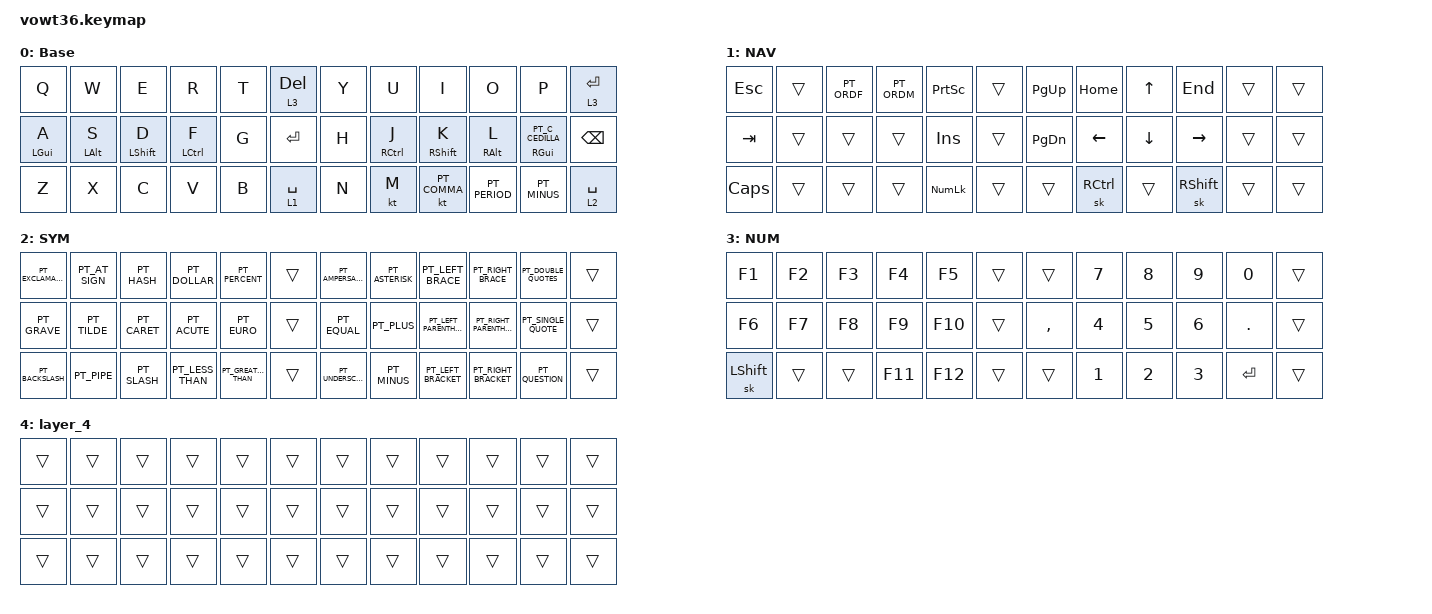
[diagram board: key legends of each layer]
#include <behaviors.dtsi>
#include <dt-bindings/zmk/keys.h>
#include "keys_pt.h"
#include "accents.dtsi"

#define DEF 0
#define LWR 1
#define RSE 2
#define ADJ 3

&lt { quick_tap_ms = <220>; };

&mt { quick_tap_ms = <220>; };

/ {
};

/ {
    combos {
        compatible = "zmk,combos";

        Bootloader-Left {
            bindings = <&bootloader>;
            key-positions = <5 29 4>;
        };

        BootLoader-Right {
            bindings = <&bootloader>;
            key-positions = <6 11 35>;
        };

        Accent-Acute {
            bindings = <&kp PT_ACUTE>;
            key-positions = <9 8>;
        };

        Accent-Grave {
            bindings = <&kp PT_GRAVE>;
            key-positions = <7 8>;
        };

        Accent-Tilde {
            bindings = <&kp PT_TILDE>;
            key-positions = <7 8 9>;
        };

        Accent-Caret {
            bindings = <&kp PT_CARET>;
            key-positions = <7 9>;
        };

        Backspace {
            bindings = <&kp BACKSPACE>;
            key-positions = <6 7>;
        };

        Enter {
            bindings = <&kp ENTER>;
            key-positions = <18 19>;
        };

        Delete {
            bindings = <&kp DELETE>;
            key-positions = <4 3>;
        };

        Tab {
            bindings = <&kp TAB>;
            key-positions = <16 15>;
        };

        Esc {
            bindings = <&kp ESC>;
            key-positions = <0 1>;
        };
    };

    macros {
        DeadKey: new_macro {
            compatible = "zmk,behavior-macro-two-param";
            #binding-cells = <2>;
            bindings = <&macro_param_1to1 &kp MACRO_PLACEHOLDER &macro_param_2to1 &kp MACRO_PLACEHOLDER>;
            label = "NEW_MACRO";
        };
    };

    behaviors {
        a_grv: a_grv {
            compatible = "zmk,behavior-mod-morph";
            label = "A_GRV";
            bindings = <&DeadKey PT_GRAVE A>, <&DeadKey PT_GRAVE LS(A)>;

            #binding-cells = <0>;
            mods = <(MOD_LSFT|MOD_RSFT)>;
        };

        a_acu: a_acu {
            compatible = "zmk,behavior-mod-morph";
            label = "A_ACU";
            bindings = <&DeadKey PT_ACUTE A>, <&DeadKey PT_ACUTE LS(A)>;

            #binding-cells = <0>;
            mods = <(MOD_LSFT|MOD_RSFT)>;
        };

        a_til: a_til {
            compatible = "zmk,behavior-mod-morph";
            label = "A_TIL";
            bindings = <&DeadKey PT_TILDE A>, <&DeadKey PT_TILDE LS(A)>;

            #binding-cells = <0>;
            mods = <(MOD_LSFT|MOD_RSFT)>;
        };

        a_cir: a_cir {
            compatible = "zmk,behavior-mod-morph";
            label = "A_CIR";
            bindings = <&DeadKey PT_CARET A>, <&DeadKey PT_CARET LS(A)>;

            #binding-cells = <0>;
            mods = <(MOD_LSFT|MOD_RSFT)>;
        };

        e_acu: e_acu {
            compatible = "zmk,behavior-mod-morph";
            label = "E_ACU";
            bindings = <&DeadKey PT_ACUTE E>, <&DeadKey PT_ACUTE LS(E)>;

            #binding-cells = <0>;
            mods = <(MOD_LSFT|MOD_RSFT)>;
        };

        e_cir: e_cir {
            compatible = "zmk,behavior-mod-morph";
            label = "E_CIR";
            bindings = <&DeadKey PT_CARET E>, <&DeadKey PT_CARET LS(E)>;

            #binding-cells = <0>;
            mods = <(MOD_LSFT|MOD_RSFT)>;
        };

        i_acu: i_acu {
            compatible = "zmk,behavior-mod-morph";
            label = "I_ACU";
            bindings = <&DeadKey PT_ACUTE I>, <&DeadKey PT_ACUTE LS(I)>;

            #binding-cells = <0>;
            mods = <(MOD_LSFT|MOD_RSFT)>;
        };

        o_acu: o_acu {
            compatible = "zmk,behavior-mod-morph";
            label = "O_ACU";
            bindings = <&DeadKey PT_ACUTE O>, <&DeadKey PT_ACUTE LS(O)>;

            #binding-cells = <0>;
            mods = <(MOD_LSFT|MOD_RSFT)>;
        };

        o_til: o_til {
            compatible = "zmk,behavior-mod-morph";
            label = "O_TIL";
            bindings = <&DeadKey PT_TILDE O>, <&DeadKey PT_TILDE LS(O)>;

            #binding-cells = <0>;
            mods = <(MOD_LSFT|MOD_RSFT)>;
        };

        o_cir: o_cir {
            compatible = "zmk,behavior-mod-morph";
            label = "O_CIR";
            bindings = <&DeadKey PT_CARET O>, <&DeadKey PT_CARET LS(O)>;

            #binding-cells = <0>;
            mods = <(MOD_LSFT|MOD_RSFT)>;
        };

        u_acu: u_acu {
            compatible = "zmk,behavior-mod-morph";
            label = "U_ACU";
            bindings = <&DeadKey PT_ACUTE U>, <&DeadKey PT_ACUTE LS(U)>;

            #binding-cells = <0>;
            mods = <(MOD_LSFT|MOD_RSFT)>;
        };

        OneShotLayer: OneShotLayer {
            compatible = "zmk,behavior-hold-tap";
            label = "ONESHOTLAYER";
            bindings = <&mo>, <&sl>;

            #binding-cells = <2>;
            tapping-term-ms = <200>;
        };

        Question: Question {
            compatible = "zmk,behavior-mod-morph";
            label = "QUESTION";
            bindings = <&kp PT_QUESTION>, <&kp PT_EXCLAMATION>;

            #binding-cells = <0>;
            mods = <(MOD_LSFT|MOD_RSFT)>;
        };
    };

    keymap {
        compatible = "zmk,keymap";

        Base {
            // ------------------------------------------------------------------------------------------------
            //|  |  Q  |  W  |  E  |  R  |  T  |               |  Y  |  U   |  I  |  O  |  P  |  | 
            //|  |  A  |  S  |  D  |  F  |  G  |               |  H  |  J   |  K  |  L  |  ;  |  |
            //|  |  Z  |  X  |  C  |  V  |  B  |               |  N  |  M   |  ,  |  .  |  /  |  |
            //                     | RSE | SPC | LWR |   | LWR | BKSP | RSE |

            bindings = <
&kp Q           &kp W           &kp E             &kp R               &kp T  &lt 3 DELETE  &kp Y  &kp U                &kp I              &kp O            &kp P                       &lt 3 ENTER
&mt LEFT_GUI A  &mt LEFT_ALT S  &mt LEFT_SHIFT D  &mt LEFT_CONTROL F  &kp G  &kp ENTER     &kp H  &mt RIGHT_CONTROL J  &mt RIGHT_SHIFT K  &mt RIGHT_ALT L  &mt RIGHT_GUI PT_C_CEDILLA  &kp BACKSPACE
&kp Z           &kp X           &kp C             &kp V               &kp B  &lt 1 SPACE   &kp N  &kt M                &kt PT_COMMA       &kp PT_PERIOD    &kp PT_MINUS                &lt 2 SPACE
            >;

            label = "Base";
        };

        NAV {
            bindings = <
&kp ESC       &trans  &kp PT_ORDF  &kp PT_ORDM  &kp PRINTSCREEN  &trans  &kp PAGE_UP    &kp HOME           &kp UP    &kp END          &trans  &trans
&kp TAB       &trans  &trans       &trans       &kp INSERT       &trans  &kp PAGE_DOWN  &kp LEFT           &kp DOWN  &kp RIGHT        &trans  &trans
&kp CAPSLOCK  &trans  &trans       &trans       &kp KP_NUMLOCK   &trans  &trans         &sk RIGHT_CONTROL  &trans    &sk RIGHT_SHIFT  &trans  &trans
            >;
        };

        SYM {
            bindings = <
&kp PT_EXCLAMATION  &kp PT_AT_SIGN  &kp PT_HASH   &kp PT_DOLLAR     &kp PT_PERCENT       &trans  &kp PT_AMPERSAND   &kp PT_ASTERISK  &kp PT_LEFT_BRACE        &kp PT_RIGHT_BRACE        &kp PT_DOUBLE_QUOTES  &trans
&kp PT_GRAVE        &kp PT_TILDE    &kp PT_CARET  &kp PT_ACUTE      &kp PT_EURO          &trans  &kp PT_EQUAL       &kp PT_PLUS      &kp PT_LEFT_PARENTHESIS  &kp PT_RIGHT_PARENTHESIS  &kp PT_SINGLE_QUOTE   &trans
&kp PT_BACKSLASH    &kp PT_PIPE     &kp PT_SLASH  &kp PT_LESS_THAN  &kp PT_GREATER_THAN  &trans  &kp PT_UNDERSCORE  &kp PT_MINUS     &kp PT_LEFT_BRACKET      &kp PT_RIGHT_BRACKET      &kp PT_QUESTION       &trans
            >;
        };

        NUM {
            bindings = <
&kp F1     &kp F2  &kp F3  &kp F4   &kp F5   &trans  &trans     &kp N7  &kp N8  &kp N9  &kp N0     &trans
&kp F6     &kp F7  &kp F8  &kp F9   &kp F10  &trans  &kp COMMA  &kp N4  &kp N5  &kp N6  &kp DOT    &trans
&sk LSHFT  &trans  &trans  &kp F11  &kp F12  &trans  &trans     &kp N1  &kp N2  &kp N3  &kp ENTER  &trans
            >;
        };

        layer_4 {
            bindings = <
&trans  &trans  &trans  &trans  &trans  &trans  &trans  &trans  &trans  &trans  &trans  &trans
&trans  &trans  &trans  &trans  &trans  &trans  &trans  &trans  &trans  &trans  &trans  &trans
&trans  &trans  &trans  &trans  &trans  &trans  &trans  &trans  &trans  &trans  &trans  &trans
            >;
        };
    };
};
